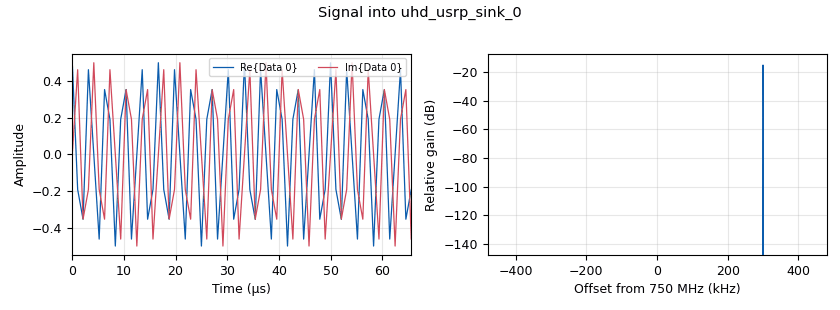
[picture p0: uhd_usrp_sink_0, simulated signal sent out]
options:
  parameters:
    author: yasht
    generate_options: qt_gui
    id: abc
    output_language: python
    title: Not titled yet
  states: {}

blocks:
- name: samp_rate
  id: variable
  parameters:
    value: '32000'
  states: {}
- name: analog_sig_source_x_0
  id: analog_sig_source_x
  parameters:
    amp: '0.5'
    freq: '10000'
    offset: '0'
    phase: '0'
    samp_rate: samp_rate
    type: complex
    waveform: analog.GR_COS_WAVE
  states: {}
- name: qtgui_freq_sink_x_0
  id: qtgui_freq_sink_x
  parameters:
    bw: samp_rate
    fc: '0'
    fftsize: '1024'
    type: complex
  states: {}
- name: uhd_usrp_sink_0
  id: uhd_usrp_sink
  parameters:
    ant0: '"TX/RX"'
    center_freq0: '750000000'
    gain0: '30'
    samp_rate: '960000'
    sync: none
    type: fc32
  states: {}
- name: uhd_usrp_source_0
  id: uhd_usrp_source
  parameters:
    ant0: '"RX2"'
    center_freq0: '750000000'
    gain0: '30'
    samp_rate: '960000'
    sync: none
    type: fc32
  states: {}

connections:
- [analog_sig_source_x_0, '0', uhd_usrp_sink_0, '0']
- [uhd_usrp_source_0, '0', qtgui_freq_sink_x_0, '0']

metadata:
  file_format: 1
  grc_version: 3.10.12.0
